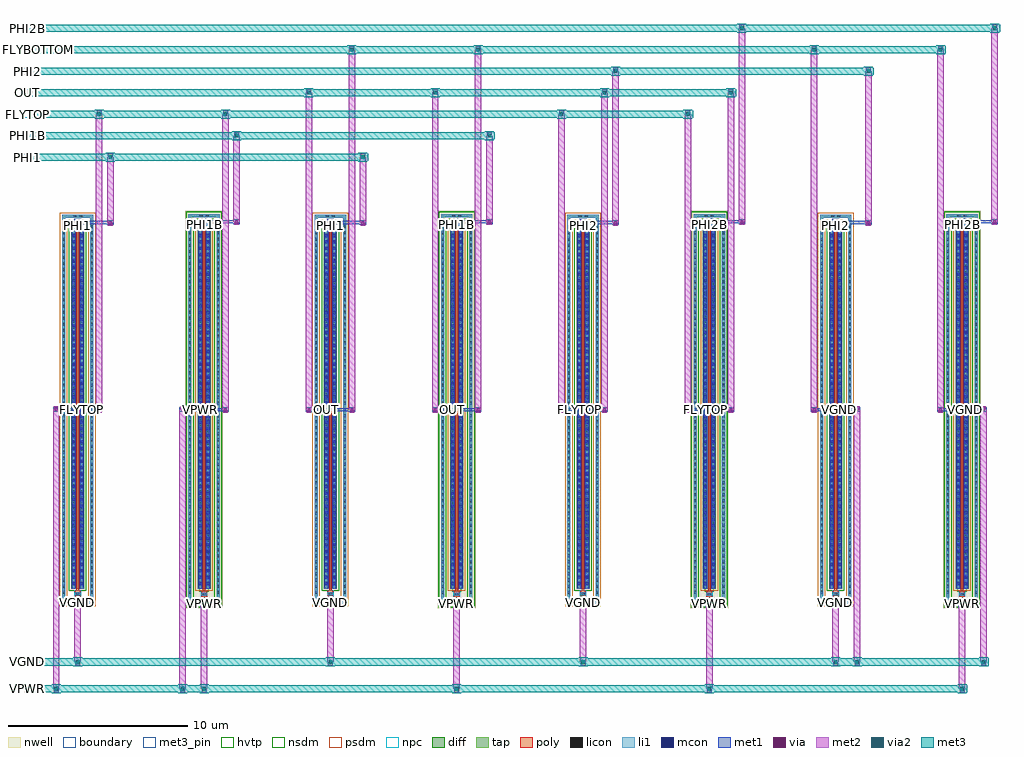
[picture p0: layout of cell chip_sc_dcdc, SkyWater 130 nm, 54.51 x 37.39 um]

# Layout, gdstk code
import gdstk
lib = gdstk.Library(unit=1e-6, precision=1e-09)
def R(c, l, rs):  # rectangles x0, y0, x1, y1
    for r in rs: c.add(gdstk.rectangle(r[:2], r[2:], *l))
def A(c, l, x, y, w, h, nx, ny, dx, dy):  # array of equal rectangles
    R(c, l, [(x+i*dx, y+j*dy, x+i*dx+w, y+j*dy+h) for i in range(nx) for j in range(ny)])
nwell = (64, 20)
diff = (65, 20)
tap = (65, 44)
poly = (66, 20)
licon = (66, 44)
li1 = (67, 20)
mcon = (67, 44)
met1 = (68, 20)
via = (68, 44)
met2 = (69, 20)
via2 = (69, 44)
met3_pin = (70, 16)
met3 = (70, 20)
hvtp = (78, 44)
nsdm = (93, 44)
psdm = (94, 20)
npc = (95, 20)
boundary = (235, 4)

chip_sc_dcdc = lib.new_cell('chip_sc_dcdc')
A(chip_sc_dcdc, nwell, 7, -11.095, 2.11, 22.19, 4, 1, 14.11, 0)
A(chip_sc_dcdc, diff, 0.635, -10, 0.73, 20, 8, 1, 7.055, 0)
A(chip_sc_dcdc, tap, 7.18, -10.915, 1.75, 0.17, 4, 2, 14.11, 21.66)
A(chip_sc_dcdc, tap, 0.125, -10.87, 1.75, 0.17, 4, 2, 14.11, 21.57)
R(chip_sc_dcdc, tap, [(7.18,-10.745,7.35,10.745), (8.76,-10.745,8.93,10.745), (21.29,-10.745,21.46,10.745), (22.87,-10.745,23.04,10.745), (35.4,-10.745,35.57,10.745), (36.98,-10.745,37.15,10.745), (49.51,-10.745,49.68,10.745), (51.09,-10.745,51.26,10.745), (0.125,-10.7,0.295,10.7), (1.705,-10.7,1.875,10.7), (14.235,-10.7,14.405,10.7), (15.815,-10.7,15.985,10.7), (28.345,-10.7,28.515,10.7), (29.925,-10.7,30.095,10.7), (42.455,-10.7,42.625,10.7), (44.035,-10.7,44.205,10.7)])
A(chip_sc_dcdc, poly, 7.89, -10.485, 0.33, 0.33, 4, 2, 14.11, 20.64)
A(chip_sc_dcdc, poly, 0.835, -10.44, 0.33, 0.33, 4, 2, 14.11, 20.55)
A(chip_sc_dcdc, poly, 7.98, -10.155, 0.15, 20.31, 4, 1, 14.11, 0)
A(chip_sc_dcdc, poly, 0.925, -10.11, 0.15, 20.22, 4, 1, 14.11, 0)
A(chip_sc_dcdc, licon, 7.97, -10.405, 0.17, 0.17, 4, 2, 14.11, 20.64)
A(chip_sc_dcdc, licon, 0.915, -10.36, 0.17, 0.17, 4, 2, 14.11, 20.55)
A(chip_sc_dcdc, licon, 0.125, -10.285, 0.17, 0.17, 1, 61, 0, 0.34)
A(chip_sc_dcdc, licon, 1.705, -10.285, 0.17, 0.17, 1, 61, 0, 0.34)
A(chip_sc_dcdc, licon, 7.18, -10.285, 0.17, 0.17, 1, 61, 0, 0.34)
A(chip_sc_dcdc, licon, 8.76, -10.285, 0.17, 0.17, 1, 61, 0, 0.34)
A(chip_sc_dcdc, licon, 14.235, -10.285, 0.17, 0.17, 1, 61, 0, 0.34)
A(chip_sc_dcdc, licon, 15.815, -10.285, 0.17, 0.17, 1, 61, 0, 0.34)
A(chip_sc_dcdc, licon, 21.29, -10.285, 0.17, 0.17, 1, 61, 0, 0.34)
A(chip_sc_dcdc, licon, 22.87, -10.285, 0.17, 0.17, 1, 61, 0, 0.34)
A(chip_sc_dcdc, licon, 28.345, -10.285, 0.17, 0.17, 1, 61, 0, 0.34)
A(chip_sc_dcdc, licon, 29.925, -10.285, 0.17, 0.17, 1, 61, 0, 0.34)
A(chip_sc_dcdc, licon, 35.4, -10.285, 0.17, 0.17, 1, 61, 0, 0.34)
A(chip_sc_dcdc, licon, 36.98, -10.285, 0.17, 0.17, 1, 61, 0, 0.34)
A(chip_sc_dcdc, licon, 42.455, -10.285, 0.17, 0.17, 1, 61, 0, 0.34)
A(chip_sc_dcdc, licon, 44.035, -10.285, 0.17, 0.17, 1, 61, 0, 0.34)
A(chip_sc_dcdc, licon, 49.51, -10.285, 0.17, 0.17, 1, 61, 0, 0.34)
A(chip_sc_dcdc, licon, 51.09, -10.285, 0.17, 0.17, 1, 61, 0, 0.34)
A(chip_sc_dcdc, licon, 0.695, -9.775, 0.17, 0.17, 1, 58, 0, 0.34)
A(chip_sc_dcdc, licon, 1.135, -9.775, 0.17, 0.17, 1, 58, 0, 0.34)
A(chip_sc_dcdc, licon, 7.75, -9.775, 0.17, 0.17, 1, 58, 0, 0.34)
A(chip_sc_dcdc, licon, 8.19, -9.775, 0.17, 0.17, 1, 58, 0, 0.34)
A(chip_sc_dcdc, licon, 14.805, -9.775, 0.17, 0.17, 1, 58, 0, 0.34)
A(chip_sc_dcdc, licon, 15.245, -9.775, 0.17, 0.17, 1, 58, 0, 0.34)
A(chip_sc_dcdc, licon, 21.86, -9.775, 0.17, 0.17, 1, 58, 0, 0.34)
A(chip_sc_dcdc, licon, 22.3, -9.775, 0.17, 0.17, 1, 58, 0, 0.34)
A(chip_sc_dcdc, licon, 28.915, -9.775, 0.17, 0.17, 1, 58, 0, 0.34)
A(chip_sc_dcdc, licon, 29.355, -9.775, 0.17, 0.17, 1, 58, 0, 0.34)
A(chip_sc_dcdc, licon, 35.97, -9.775, 0.17, 0.17, 1, 58, 0, 0.34)
A(chip_sc_dcdc, licon, 36.41, -9.775, 0.17, 0.17, 1, 58, 0, 0.34)
A(chip_sc_dcdc, licon, 43.025, -9.775, 0.17, 0.17, 1, 58, 0, 0.34)
A(chip_sc_dcdc, licon, 43.465, -9.775, 0.17, 0.17, 1, 58, 0, 0.34)
A(chip_sc_dcdc, licon, 50.08, -9.775, 0.17, 0.17, 1, 58, 0, 0.34)
A(chip_sc_dcdc, licon, 50.52, -9.775, 0.17, 0.17, 1, 58, 0, 0.34)
R(chip_sc_dcdc, licon, [(7.8,-10.915,7.97,-10.745), (8.14,-10.915,8.31,-10.745), (21.91,-10.915,22.08,-10.745), (22.25,-10.915,22.42,-10.745), (36.02,-10.915,36.19,-10.745), (36.36,-10.915,36.53,-10.745), (50.13,-10.915,50.3,-10.745), (50.47,-10.915,50.64,-10.745), (0.745,-10.87,0.915,-10.7), (1.085,-10.87,1.255,-10.7), (14.855,-10.87,15.025,-10.7), (15.195,-10.87,15.365,-10.7), (28.965,-10.87,29.135,-10.7), (29.305,-10.87,29.475,-10.7), (43.075,-10.87,43.245,-10.7), (43.415,-10.87,43.585,-10.7), (0.745,10.7,0.915,10.87), (1.085,10.7,1.255,10.87), (14.855,10.7,15.025,10.87), (15.195,10.7,15.365,10.87), (28.965,10.7,29.135,10.87), (29.305,10.7,29.475,10.87), (43.075,10.7,43.245,10.87), (43.415,10.7,43.585,10.87), (7.8,10.745,7.97,10.915), (8.14,10.745,8.31,10.915), (21.91,10.745,22.08,10.915), (22.25,10.745,22.42,10.915), (36.02,10.745,36.19,10.915), (36.36,10.745,36.53,10.915), (50.13,10.745,50.3,10.915), (50.47,10.745,50.64,10.915)])
A(chip_sc_dcdc, li1, 7.18, -10.915, 1.75, 0.17, 4, 2, 14.11, 21.66)
A(chip_sc_dcdc, li1, 0.125, -10.87, 1.75, 0.17, 4, 2, 14.11, 21.57)
A(chip_sc_dcdc, li1, 7.89, -10.405, 0.33, 0.17, 4, 2, 14.11, 20.64)
A(chip_sc_dcdc, li1, 0.835, -10.36, 0.33, 0.17, 4, 2, 14.11, 20.55)
A(chip_sc_dcdc, li1, 0.915, 10.19, 0.17, 0.34, 4, 1, 14.11, 0)
A(chip_sc_dcdc, li1, 7.97, 10.235, 0.17, 0.34, 4, 1, 14.11, 0)
R(chip_sc_dcdc, li1, [(7.18,-10.745,7.35,10.745), (8.76,-10.745,8.93,10.745), (21.29,-10.745,21.46,10.745), (22.87,-10.745,23.04,10.745), (35.4,-10.745,35.57,10.745), (36.98,-10.745,37.15,10.745), (49.51,-10.745,49.68,10.745), (51.09,-10.745,51.26,10.745), (0.125,-10.7,0.295,10.7), (1.705,-10.7,1.875,10.7), (14.235,-10.7,14.405,10.7), (15.815,-10.7,15.985,10.7), (28.345,-10.7,28.515,10.7), (29.925,-10.7,30.095,10.7), (42.455,-10.7,42.625,10.7), (44.035,-10.7,44.205,10.7), (0.695,-10.02,0.865,10.02), (1.135,-10.02,1.305,10.02), (7.75,-10.02,7.92,10.02), (8.19,-10.02,8.36,10.02), (14.805,-10.02,14.975,10.02), (15.245,-10.02,15.415,10.02), (21.86,-10.02,22.03,10.02), (22.3,-10.02,22.47,10.02), (28.915,-10.02,29.085,10.02), (29.355,-10.02,29.525,10.02), (35.97,-10.02,36.14,10.02), (36.41,-10.02,36.58,10.02), (43.025,-10.02,43.195,10.02), (43.465,-10.02,43.635,10.02), (50.08,-10.02,50.25,10.02), (50.52,-10.02,50.69,10.02)])
A(chip_sc_dcdc, mcon, 7.97, -10.915, 0.17, 0.17, 4, 2, 14.11, 21.32)
A(chip_sc_dcdc, mcon, 0.915, -10.87, 0.17, 0.17, 4, 2, 14.11, 21.23)
A(chip_sc_dcdc, mcon, 0.695, -9.805, 0.17, 0.17, 1, 55, 0, 0.36)
A(chip_sc_dcdc, mcon, 1.135, -9.805, 0.17, 0.17, 1, 55, 0, 0.36)
A(chip_sc_dcdc, mcon, 7.75, -9.805, 0.17, 0.17, 1, 55, 0, 0.36)
A(chip_sc_dcdc, mcon, 8.19, -9.805, 0.17, 0.17, 1, 55, 0, 0.36)
A(chip_sc_dcdc, mcon, 14.805, -9.805, 0.17, 0.17, 1, 55, 0, 0.36)
A(chip_sc_dcdc, mcon, 15.245, -9.805, 0.17, 0.17, 1, 55, 0, 0.36)
A(chip_sc_dcdc, mcon, 21.86, -9.805, 0.17, 0.17, 1, 55, 0, 0.36)
A(chip_sc_dcdc, mcon, 22.3, -9.805, 0.17, 0.17, 1, 55, 0, 0.36)
A(chip_sc_dcdc, mcon, 28.915, -9.805, 0.17, 0.17, 1, 55, 0, 0.36)
A(chip_sc_dcdc, mcon, 29.355, -9.805, 0.17, 0.17, 1, 55, 0, 0.36)
A(chip_sc_dcdc, mcon, 35.97, -9.805, 0.17, 0.17, 1, 55, 0, 0.36)
A(chip_sc_dcdc, mcon, 36.41, -9.805, 0.17, 0.17, 1, 55, 0, 0.36)
A(chip_sc_dcdc, mcon, 43.025, -9.805, 0.17, 0.17, 1, 55, 0, 0.36)
A(chip_sc_dcdc, mcon, 43.465, -9.805, 0.17, 0.17, 1, 55, 0, 0.36)
A(chip_sc_dcdc, mcon, 50.08, -9.805, 0.17, 0.17, 1, 55, 0, 0.36)
A(chip_sc_dcdc, mcon, 50.52, -9.805, 0.17, 0.17, 1, 55, 0, 0.36)
A(chip_sc_dcdc, met1, 7.855, -11.03, 0.4, 0.4, 4, 2, 14.11, 21.32)
A(chip_sc_dcdc, met1, 0.8, -10.985, 0.4, 0.4, 4, 2, 14.11, 21.23)
A(chip_sc_dcdc, met1, 7.875, -10.96, 0.36, 0.26, 4, 1, 14.11, 0)
A(chip_sc_dcdc, met1, 0.82, -10.915, 0.36, 0.26, 4, 1, 14.11, 0)
A(chip_sc_dcdc, met1, 2.64, 10.315, 0.36, 0.26, 4, 1, 14.11, 0)
A(chip_sc_dcdc, met1, 9.695, 10.36, 0.36, 0.26, 4, 1, 14.11, 0)
R(chip_sc_dcdc, met1, [(0.665,-10,0.895,10), (1.105,-10,1.335,10), (7.72,-10,7.95,10), (8.16,-10,8.39,10), (14.775,-10,15.005,10), (15.215,-10,15.445,10), (21.83,-10,22.06,10), (22.27,-10,22.5,10), (28.885,-10,29.115,10), (29.325,-10,29.555,10), (35.94,-10,36.17,10), (36.38,-10,36.61,10), (42.995,-10,43.225,10), (43.435,-10,43.665,10), (50.05,-10,50.28,10), (50.49,-10,50.72,10), (-0.38,-0.13,-0.02,0.13), (2.02,-0.13,2.38,0.13), (6.675,-0.13,7.035,0.13), (9.075,-0.13,9.435,0.13), (13.73,-0.13,14.09,0.13), (16.13,-0.13,16.49,0.13), (20.785,-0.13,21.145,0.13), (23.185,-0.13,23.545,0.13), (27.84,-0.13,28.2,0.13), (30.24,-0.13,30.6,0.13), (34.895,-0.13,35.255,0.13), (37.295,-0.13,37.655,0.13), (41.95,-0.13,42.31,0.13), (44.35,-0.13,44.71,0.13), (49.005,-0.13,49.365,0.13), (51.405,-0.13,51.765,0.13)])
A(chip_sc_dcdc, via, 7.98, -10.905, 0.15, 0.15, 4, 1, 14.11, 0)
A(chip_sc_dcdc, via, 0.925, -10.86, 0.15, 0.15, 4, 1, 14.11, 0)
A(chip_sc_dcdc, via, 2.745, 10.37, 0.15, 0.15, 4, 1, 14.11, 0)
A(chip_sc_dcdc, via, 9.8, 10.415, 0.15, 0.15, 4, 1, 14.11, 0)
R(chip_sc_dcdc, via, [(-0.275,-0.075,-0.125,0.075), (2.125,-0.075,2.275,0.075), (6.78,-0.075,6.93,0.075), (9.18,-0.075,9.33,0.075), (13.835,-0.075,13.985,0.075), (16.235,-0.075,16.385,0.075), (20.89,-0.075,21.04,0.075), (23.29,-0.075,23.44,0.075), (27.945,-0.075,28.095,0.075), (30.345,-0.075,30.495,0.075), (35,-0.075,35.15,0.075), (37.4,-0.075,37.55,0.075), (42.055,-0.075,42.205,0.075), (44.455,-0.075,44.605,0.075), (49.11,-0.075,49.26,0.075), (51.51,-0.075,51.66,0.075)])
A(chip_sc_dcdc, met2, 7.915, -15.785, 0.28, 0.38, 4, 1, 14.11, 0)
A(chip_sc_dcdc, met2, 0.86, -14.285, 0.28, 0.38, 4, 1, 14.11, 0)
A(chip_sc_dcdc, met2, 7.925, -11.01, 0.26, 0.36, 4, 1, 14.11, 0)
A(chip_sc_dcdc, met2, 0.87, -10.965, 0.26, 0.36, 4, 1, 14.11, 0)
A(chip_sc_dcdc, met2, 2.69, 10.265, 0.26, 0.36, 4, 1, 14.11, 0)
A(chip_sc_dcdc, met2, 9.745, 10.31, 0.26, 0.36, 4, 1, 14.11, 0)
R(chip_sc_dcdc, met2, [(-0.34,-15.785,-0.06,-15.405), (6.715,-15.785,6.995,-15.405), (44.39,-14.285,44.67,-13.905), (51.445,-14.285,51.725,-13.905), (-0.33,-0.18,-0.07,0.18), (2.07,-0.18,2.33,0.18), (6.725,-0.18,6.985,0.18), (9.125,-0.18,9.385,0.18), (13.78,-0.18,14.04,0.18), (16.18,-0.18,16.44,0.18), (20.835,-0.18,21.095,0.18), (23.235,-0.18,23.495,0.18), (27.89,-0.18,28.15,0.18), (30.29,-0.18,30.55,0.18), (34.945,-0.18,35.205,0.18), (37.345,-0.18,37.605,0.18), (42,-0.18,42.26,0.18), (44.4,-0.18,44.66,0.18), (49.055,-0.18,49.315,0.18), (51.455,-0.18,51.715,0.18), (2.68,13.905,2.96,14.285), (16.79,13.905,17.07,14.285), (9.735,15.105,10.015,15.485), (23.845,15.105,24.125,15.485), (2.06,16.305,2.34,16.685), (9.115,16.305,9.395,16.685), (27.88,16.305,28.16,16.685), (34.935,16.305,35.215,16.685), (13.77,17.505,14.05,17.885), (20.825,17.505,21.105,17.885), (30.28,17.505,30.56,17.885), (37.335,17.505,37.615,17.885), (30.9,18.705,31.18,19.085), (45.01,18.705,45.29,19.085), (16.17,19.905,16.45,20.285), (23.225,19.905,23.505,20.285), (41.99,19.905,42.27,20.285), (49.045,19.905,49.325,20.285), (37.955,21.105,38.235,21.485), (52.065,21.105,52.345,21.485)])
A(chip_sc_dcdc, via2, 7.955, -15.695, 0.2, 0.2, 4, 1, 14.11, 0)
A(chip_sc_dcdc, via2, 0.9, -14.195, 0.2, 0.2, 4, 1, 14.11, 0)
R(chip_sc_dcdc, via2, [(-0.3,-15.695,-0.1,-15.495), (6.755,-15.695,6.955,-15.495), (44.43,-14.195,44.63,-13.995), (51.485,-14.195,51.685,-13.995), (2.72,13.995,2.92,14.195), (16.83,13.995,17.03,14.195), (9.775,15.195,9.975,15.395), (23.885,15.195,24.085,15.395), (2.1,16.395,2.3,16.595), (9.155,16.395,9.355,16.595), (27.92,16.395,28.12,16.595), (34.975,16.395,35.175,16.595), (13.81,17.595,14.01,17.795), (20.865,17.595,21.065,17.795), (30.32,17.595,30.52,17.795), (37.375,17.595,37.575,17.795), (30.94,18.795,31.14,18.995), (45.05,18.795,45.25,18.995), (16.21,19.995,16.41,20.195), (23.265,19.995,23.465,20.195), (42.03,19.995,42.23,20.195), (49.085,19.995,49.285,20.195), (37.995,21.195,38.195,21.395), (52.105,21.195,52.305,21.395)])
A(chip_sc_dcdc, met3_pin, -2, 13.895, 0.4, 0.4, 1, 7, 0, 1.2)
R(chip_sc_dcdc, met3_pin, [(-2,-15.795,-1.6,-15.395), (-2,-14.295,-1.6,-13.895)])
A(chip_sc_dcdc, met3, 7.805, -15.845, 0.5, 0.5, 4, 1, 14.11, 0)
A(chip_sc_dcdc, met3, 0.75, -14.345, 0.5, 0.5, 4, 1, 14.11, 0)
R(chip_sc_dcdc, met3, [(-0.45,-15.845,0.05,-15.345), (6.605,-15.845,7.105,-15.345), (44.28,-14.345,44.78,-13.845), (51.335,-14.345,51.835,-13.845), (2.57,13.845,3.07,14.345), (16.68,13.845,17.18,14.345), (9.625,15.045,10.125,15.545), (23.735,15.045,24.235,15.545), (1.95,16.245,2.45,16.745), (9.005,16.245,9.505,16.745), (27.77,16.245,28.27,16.745), (34.825,16.245,35.325,16.745), (13.66,17.445,14.16,17.945), (20.715,17.445,21.215,17.945), (30.17,17.445,30.67,17.945), (37.225,17.445,37.725,17.945), (30.79,18.645,31.29,19.145), (44.9,18.645,45.4,19.145), (16.06,19.845,16.56,20.345), (23.115,19.845,23.615,20.345), (41.88,19.845,42.38,20.345), (48.935,19.845,49.435,20.345), (37.845,21.045,38.345,21.545), (51.955,21.045,52.455,21.545)])
A(chip_sc_dcdc, hvtp, 7.8, -10.18, 0.51, 20.36, 4, 1, 14.11, 0)
A(chip_sc_dcdc, nsdm, 7.055, -11.04, 2, 0.42, 4, 2, 14.11, 21.66)
A(chip_sc_dcdc, nsdm, 0.51, -10.125, 0.98, 20.25, 4, 1, 14.11, 0)
R(chip_sc_dcdc, nsdm, [(7.055,-10.62,7.475,10.62), (8.635,-10.62,9.055,10.62), (21.165,-10.62,21.585,10.62), (22.745,-10.62,23.165,10.62), (35.275,-10.62,35.695,10.62), (36.855,-10.62,37.275,10.62), (49.385,-10.62,49.805,10.62), (50.965,-10.62,51.385,10.62)])
A(chip_sc_dcdc, psdm, 0, -10.995, 2, 0.42, 4, 2, 14.11, 21.57)
A(chip_sc_dcdc, psdm, 7.565, -10.125, 0.98, 20.25, 4, 1, 14.11, 0)
R(chip_sc_dcdc, psdm, [(0,-10.575,0.42,10.575), (1.58,-10.575,2,10.575), (14.11,-10.575,14.53,10.575), (15.69,-10.575,16.11,10.575), (28.22,-10.575,28.64,10.575), (29.8,-10.575,30.22,10.575), (42.33,-10.575,42.75,10.575), (43.91,-10.575,44.33,10.575)])
A(chip_sc_dcdc, npc, 7.87, -10.505, 0.37, 0.37, 4, 2, 14.11, 20.64)
A(chip_sc_dcdc, npc, 0.815, -10.46, 0.37, 0.37, 4, 2, 14.11, 20.55)
A(chip_sc_dcdc, boundary, 7.265, -10.83, 1.58, 21.66, 4, 1, 14.11, 0)
A(chip_sc_dcdc, boundary, 0.21, -10.785, 1.58, 21.57, 4, 1, 14.11, 0)
chip_sc_dcdc.add(gdstk.FlexPath([(50.605,0),(51.585,0)], 0.17, ends="flush", simple_path=True, layer=68, datatype=20))  # met1
chip_sc_dcdc.add(gdstk.FlexPath([(15.11,10.445),(16.93,10.445)], 0.17, ends="flush", simple_path=True, layer=68, datatype=20))  # met1
chip_sc_dcdc.add(gdstk.FlexPath([(15.33,0),(16.31,0)], 0.17, ends="flush", simple_path=True, layer=68, datatype=20))  # met1
chip_sc_dcdc.add(gdstk.FlexPath([(1,10.445),(2.82,10.445)], 0.17, ends="flush", simple_path=True, layer=68, datatype=20))  # met1
chip_sc_dcdc.add(gdstk.FlexPath([(15.11,-10.785),(15.11,-10.785)], 0.17, ends="flush", simple_path=True, layer=68, datatype=20))  # met1
chip_sc_dcdc.add(gdstk.FlexPath([(8.275,0),(9.255,0)], 0.17, ends="flush", simple_path=True, layer=68, datatype=20))  # met1
chip_sc_dcdc.add(gdstk.FlexPath([(8.055,10.49),(9.875,10.49)], 0.17, ends="flush", simple_path=True, layer=68, datatype=20))  # met1
chip_sc_dcdc.add(gdstk.FlexPath([(22.385,0),(23.365,0)], 0.17, ends="flush", simple_path=True, layer=68, datatype=20))  # met1
chip_sc_dcdc.add(gdstk.FlexPath([(29,0),(28.02,0)], 0.17, ends="flush", simple_path=True, layer=68, datatype=20))  # met1
chip_sc_dcdc.add(gdstk.FlexPath([(43.11,0),(42.13,0)], 0.17, ends="flush", simple_path=True, layer=68, datatype=20))  # met1
chip_sc_dcdc.add(gdstk.FlexPath([(7.835,0),(6.855,0)], 0.17, ends="flush", simple_path=True, layer=68, datatype=20))  # met1
chip_sc_dcdc.add(gdstk.FlexPath([(21.945,0),(20.965,0)], 0.17, ends="flush", simple_path=True, layer=68, datatype=20))  # met1
chip_sc_dcdc.add(gdstk.FlexPath([(50.385,10.49),(52.205,10.49)], 0.17, ends="flush", simple_path=True, layer=68, datatype=20))  # met1
chip_sc_dcdc.add(gdstk.FlexPath([(29.22,-10.785),(29.22,-10.785)], 0.17, ends="flush", simple_path=True, layer=68, datatype=20))  # met1
chip_sc_dcdc.add(gdstk.FlexPath([(8.055,-10.83),(8.055,-10.83)], 0.17, ends="flush", simple_path=True, layer=68, datatype=20))  # met1
chip_sc_dcdc.add(gdstk.FlexPath([(1.22,0),(2.2,0)], 0.17, ends="flush", simple_path=True, layer=68, datatype=20))  # met1
chip_sc_dcdc.add(gdstk.FlexPath([(1,-10.785),(1,-10.785)], 0.17, ends="flush", simple_path=True, layer=68, datatype=20))  # met1
chip_sc_dcdc.add(gdstk.FlexPath([(43.33,10.445),(45.15,10.445)], 0.17, ends="flush", simple_path=True, layer=68, datatype=20))  # met1
chip_sc_dcdc.add(gdstk.FlexPath([(14.89,0),(13.91,0)], 0.17, ends="flush", simple_path=True, layer=68, datatype=20))  # met1
chip_sc_dcdc.add(gdstk.FlexPath([(50.165,0),(49.185,0)], 0.17, ends="flush", simple_path=True, layer=68, datatype=20))  # met1
chip_sc_dcdc.add(gdstk.FlexPath([(50.385,-10.83),(50.385,-10.83)], 0.17, ends="flush", simple_path=True, layer=68, datatype=20))  # met1
chip_sc_dcdc.add(gdstk.FlexPath([(0.78,0),(-0.2,0)], 0.17, ends="flush", simple_path=True, layer=68, datatype=20))  # met1
chip_sc_dcdc.add(gdstk.FlexPath([(22.165,10.49),(23.985,10.49)], 0.17, ends="flush", simple_path=True, layer=68, datatype=20))  # met1
chip_sc_dcdc.add(gdstk.FlexPath([(22.165,-10.83),(22.165,-10.83)], 0.17, ends="flush", simple_path=True, layer=68, datatype=20))  # met1
chip_sc_dcdc.add(gdstk.FlexPath([(36.275,10.49),(38.095,10.49)], 0.17, ends="flush", simple_path=True, layer=68, datatype=20))  # met1
chip_sc_dcdc.add(gdstk.FlexPath([(36.055,0),(35.075,0)], 0.17, ends="flush", simple_path=True, layer=68, datatype=20))  # met1
chip_sc_dcdc.add(gdstk.FlexPath([(43.33,-10.785),(43.33,-10.785)], 0.17, ends="flush", simple_path=True, layer=68, datatype=20))  # met1
chip_sc_dcdc.add(gdstk.FlexPath([(29.44,0),(30.42,0)], 0.17, ends="flush", simple_path=True, layer=68, datatype=20))  # met1
chip_sc_dcdc.add(gdstk.FlexPath([(29.22,10.445),(31.04,10.445)], 0.17, ends="flush", simple_path=True, layer=68, datatype=20))  # met1
chip_sc_dcdc.add(gdstk.FlexPath([(36.495,0),(37.475,0)], 0.17, ends="flush", simple_path=True, layer=68, datatype=20))  # met1
chip_sc_dcdc.add(gdstk.FlexPath([(36.275,-10.83),(36.275,-10.83)], 0.17, ends="flush", simple_path=True, layer=68, datatype=20))  # met1
chip_sc_dcdc.add(gdstk.FlexPath([(43.55,0),(44.53,0)], 0.17, ends="flush", simple_path=True, layer=68, datatype=20))  # met1
chip_sc_dcdc.add(gdstk.FlexPath([(50.385,-10.83),(50.385,-15.595)], 0.36, ends="flush", simple_path=True, layer=69, datatype=20))  # met2
chip_sc_dcdc.add(gdstk.FlexPath([(51.585,0),(51.585,-14.095)], 0.36, ends="flush", simple_path=True, layer=69, datatype=20))  # met2
chip_sc_dcdc.add(gdstk.FlexPath([(20.965,0),(20.965,17.695)], 0.36, ends="flush", simple_path=True, layer=69, datatype=20))  # met2
chip_sc_dcdc.add(gdstk.FlexPath([(30.42,0),(30.42,17.695)], 0.36, ends="flush", simple_path=True, layer=69, datatype=20))  # met2
chip_sc_dcdc.add(gdstk.FlexPath([(2.82,10.445),(2.82,14.095)], 0.36, ends="flush", simple_path=True, layer=69, datatype=20))  # met2
chip_sc_dcdc.add(gdstk.FlexPath([(13.91,0),(13.91,17.695)], 0.36, ends="flush", simple_path=True, layer=69, datatype=20))  # met2
chip_sc_dcdc.add(gdstk.FlexPath([(8.055,-10.83),(8.055,-15.595)], 0.36, ends="flush", simple_path=True, layer=69, datatype=20))  # met2
chip_sc_dcdc.add(gdstk.FlexPath([(16.31,0),(16.31,20.095)], 0.36, ends="flush", simple_path=True, layer=69, datatype=20))  # met2
chip_sc_dcdc.add(gdstk.FlexPath([(9.875,10.49),(9.875,15.295)], 0.36, ends="flush", simple_path=True, layer=69, datatype=20))  # met2
chip_sc_dcdc.add(gdstk.FlexPath([(6.855,0),(6.855,-15.595)], 0.36, ends="flush", simple_path=True, layer=69, datatype=20))  # met2
chip_sc_dcdc.add(gdstk.FlexPath([(16.93,10.445),(16.93,14.095)], 0.36, ends="flush", simple_path=True, layer=69, datatype=20))  # met2
chip_sc_dcdc.add(gdstk.FlexPath([(52.205,10.49),(52.205,21.295)], 0.36, ends="flush", simple_path=True, layer=69, datatype=20))  # met2
chip_sc_dcdc.add(gdstk.FlexPath([(38.095,10.49),(38.095,21.295)], 0.36, ends="flush", simple_path=True, layer=69, datatype=20))  # met2
chip_sc_dcdc.add(gdstk.FlexPath([(1,-10.785),(1,-14.095)], 0.36, ends="flush", simple_path=True, layer=69, datatype=20))  # met2
chip_sc_dcdc.add(gdstk.FlexPath([(2.2,0),(2.2,16.495)], 0.36, ends="flush", simple_path=True, layer=69, datatype=20))  # met2
chip_sc_dcdc.add(gdstk.FlexPath([(36.275,-10.83),(36.275,-15.595)], 0.36, ends="flush", simple_path=True, layer=69, datatype=20))  # met2
chip_sc_dcdc.add(gdstk.FlexPath([(29.22,-10.785),(29.22,-14.095)], 0.36, ends="flush", simple_path=True, layer=69, datatype=20))  # met2
chip_sc_dcdc.add(gdstk.FlexPath([(-0.2,0),(-0.2,-15.595)], 0.36, ends="flush", simple_path=True, layer=69, datatype=20))  # met2
chip_sc_dcdc.add(gdstk.FlexPath([(42.13,0),(42.13,20.095)], 0.36, ends="flush", simple_path=True, layer=69, datatype=20))  # met2
chip_sc_dcdc.add(gdstk.FlexPath([(22.165,-10.83),(22.165,-15.595)], 0.36, ends="flush", simple_path=True, layer=69, datatype=20))  # met2
chip_sc_dcdc.add(gdstk.FlexPath([(45.15,10.445),(45.15,18.895)], 0.36, ends="flush", simple_path=True, layer=69, datatype=20))  # met2
chip_sc_dcdc.add(gdstk.FlexPath([(28.02,0),(28.02,16.495)], 0.36, ends="flush", simple_path=True, layer=69, datatype=20))  # met2
chip_sc_dcdc.add(gdstk.FlexPath([(44.53,0),(44.53,-14.095)], 0.36, ends="flush", simple_path=True, layer=69, datatype=20))  # met2
chip_sc_dcdc.add(gdstk.FlexPath([(31.04,10.445),(31.04,18.895)], 0.36, ends="flush", simple_path=True, layer=69, datatype=20))  # met2
chip_sc_dcdc.add(gdstk.FlexPath([(23.985,10.49),(23.985,15.295)], 0.36, ends="flush", simple_path=True, layer=69, datatype=20))  # met2
chip_sc_dcdc.add(gdstk.FlexPath([(15.11,-10.785),(15.11,-14.095)], 0.36, ends="flush", simple_path=True, layer=69, datatype=20))  # met2
chip_sc_dcdc.add(gdstk.FlexPath([(23.365,0),(23.365,20.095)], 0.36, ends="flush", simple_path=True, layer=69, datatype=20))  # met2
chip_sc_dcdc.add(gdstk.FlexPath([(35.075,0),(35.075,16.495)], 0.36, ends="flush", simple_path=True, layer=69, datatype=20))  # met2
chip_sc_dcdc.add(gdstk.FlexPath([(9.255,0),(9.255,16.495)], 0.36, ends="flush", simple_path=True, layer=69, datatype=20))  # met2
chip_sc_dcdc.add(gdstk.FlexPath([(43.33,-10.785),(43.33,-14.095)], 0.36, ends="flush", simple_path=True, layer=69, datatype=20))  # met2
chip_sc_dcdc.add(gdstk.FlexPath([(37.475,0),(37.475,17.695)], 0.36, ends="flush", simple_path=True, layer=69, datatype=20))  # met2
chip_sc_dcdc.add(gdstk.FlexPath([(49.185,0),(49.185,20.095)], 0.36, ends="flush", simple_path=True, layer=69, datatype=20))  # met2
chip_sc_dcdc.add(gdstk.FlexPath([(-1.8,-15.595),(50.685,-15.595)], 0.4, ends="flush", simple_path=True, layer=70, datatype=20))  # met3
chip_sc_dcdc.add(gdstk.FlexPath([(-1.8,-14.095),(51.885,-14.095)], 0.4, ends="flush", simple_path=True, layer=70, datatype=20))  # met3
chip_sc_dcdc.add(gdstk.FlexPath([(-1.8,21.295),(52.505,21.295)], 0.4, ends="flush", simple_path=True, layer=70, datatype=20))  # met3
chip_sc_dcdc.add(gdstk.FlexPath([(-1.8,20.095),(49.485,20.095)], 0.4, ends="flush", simple_path=True, layer=70, datatype=20))  # met3
chip_sc_dcdc.add(gdstk.FlexPath([(-1.8,18.895),(45.45,18.895)], 0.4, ends="flush", simple_path=True, layer=70, datatype=20))  # met3
chip_sc_dcdc.add(gdstk.FlexPath([(-1.8,17.695),(37.775,17.695)], 0.4, ends="flush", simple_path=True, layer=70, datatype=20))  # met3
chip_sc_dcdc.add(gdstk.FlexPath([(-1.8,16.495),(35.375,16.495)], 0.4, ends="flush", simple_path=True, layer=70, datatype=20))  # met3
chip_sc_dcdc.add(gdstk.FlexPath([(-1.8,15.295),(24.285,15.295)], 0.4, ends="flush", simple_path=True, layer=70, datatype=20))  # met3
chip_sc_dcdc.add(gdstk.FlexPath([(-1.8,14.095),(17.23,14.095)], 0.4, ends="flush", simple_path=True, layer=70, datatype=20))  # met3
chip_sc_dcdc.add(gdstk.Label('VGND', (50.605,0), layer=67, texttype=5))
chip_sc_dcdc.add(gdstk.Label('FLYBOTTOM', (50.165,0), layer=67, texttype=5))
chip_sc_dcdc.add(gdstk.Label('VPWR', (50.385,-10.83), layer=67, texttype=5))
chip_sc_dcdc.add(gdstk.Label('PHI1', (15.11,10.275), layer=67, texttype=5))
chip_sc_dcdc.add(gdstk.Label('VPWR', (7.835,0), layer=67, texttype=5))
chip_sc_dcdc.add(gdstk.Label('FLYTOP', (1.22,0), layer=67, texttype=5))
chip_sc_dcdc.add(gdstk.Label('OUT', (21.945,0), layer=67, texttype=5))
chip_sc_dcdc.add(gdstk.Label('OUT', (14.89,0), layer=67, texttype=5))
chip_sc_dcdc.add(gdstk.Label('VPWR', (36.275,-10.83), layer=67, texttype=5))
chip_sc_dcdc.add(gdstk.Label('VPWR', (22.165,-10.83), layer=67, texttype=5))
chip_sc_dcdc.add(gdstk.Label('FLYTOP', (36.055,0), layer=67, texttype=5))
chip_sc_dcdc.add(gdstk.Label('FLYTOP', (8.275,0), layer=67, texttype=5))
chip_sc_dcdc.add(gdstk.Label('FLYBOTTOM', (15.33,0), layer=67, texttype=5))
chip_sc_dcdc.add(gdstk.Label('VGND', (15.11,-10.785), layer=67, texttype=5))
chip_sc_dcdc.add(gdstk.Label('VPWR', (8.055,-10.83), layer=67, texttype=5))
chip_sc_dcdc.add(gdstk.Label('PHI1B', (8.055,10.32), layer=67, texttype=5))
chip_sc_dcdc.add(gdstk.Label('VPWR', (0.78,0), layer=67, texttype=5))
chip_sc_dcdc.add(gdstk.Label('VGND', (1,-10.785), layer=67, texttype=5))
chip_sc_dcdc.add(gdstk.Label('PHI1B', (22.165,10.32), layer=67, texttype=5))
chip_sc_dcdc.add(gdstk.Label('VGND', (29.22,-10.785), layer=67, texttype=5))
chip_sc_dcdc.add(gdstk.Label('OUT', (36.495,0), layer=67, texttype=5))
chip_sc_dcdc.add(gdstk.Label('FLYBOTTOM', (22.385,0), layer=67, texttype=5))
chip_sc_dcdc.add(gdstk.Label('PHI2B', (36.275,10.32), layer=67, texttype=5))
chip_sc_dcdc.add(gdstk.Label('FLYTOP', (29,0), layer=67, texttype=5))
chip_sc_dcdc.add(gdstk.Label('PHI1', (1,10.275), layer=67, texttype=5))
chip_sc_dcdc.add(gdstk.Label('VGND', (43.33,-10.785), layer=67, texttype=5))
chip_sc_dcdc.add(gdstk.Label('OUT', (29.44,0), layer=67, texttype=5))
chip_sc_dcdc.add(gdstk.Label('PHI2B', (50.385,10.32), layer=67, texttype=5))
chip_sc_dcdc.add(gdstk.Label('PHI2', (29.22,10.275), layer=67, texttype=5))
chip_sc_dcdc.add(gdstk.Label('PHI2', (43.33,10.275), layer=67, texttype=5))
chip_sc_dcdc.add(gdstk.Label('VGND', (43.55,0), layer=67, texttype=5))
chip_sc_dcdc.add(gdstk.Label('FLYBOTTOM', (43.11,0), layer=67, texttype=5))
chip_sc_dcdc.add(gdstk.Label('VGND', (-1.8,-14.095), layer=70, texttype=5))
chip_sc_dcdc.add(gdstk.Label('FLYBOTTOM', (-1.8,20.095), layer=70, texttype=5))
chip_sc_dcdc.add(gdstk.Label('VPWR', (-1.8,-15.595), layer=70, texttype=5))
chip_sc_dcdc.add(gdstk.Label('PHI2', (-1.8,18.895), layer=70, texttype=5))
chip_sc_dcdc.add(gdstk.Label('OUT', (-1.8,17.695), layer=70, texttype=5))
chip_sc_dcdc.add(gdstk.Label('FLYTOP', (-1.8,16.495), layer=70, texttype=5))
chip_sc_dcdc.add(gdstk.Label('PHI1B', (-1.8,15.295), layer=70, texttype=5))
chip_sc_dcdc.add(gdstk.Label('PHI2B', (-1.8,21.295), layer=70, texttype=5))
chip_sc_dcdc.add(gdstk.Label('PHI1', (-1.8,14.095), layer=70, texttype=5))

lib.write_gds('chip_sc_dcdc.gds')
